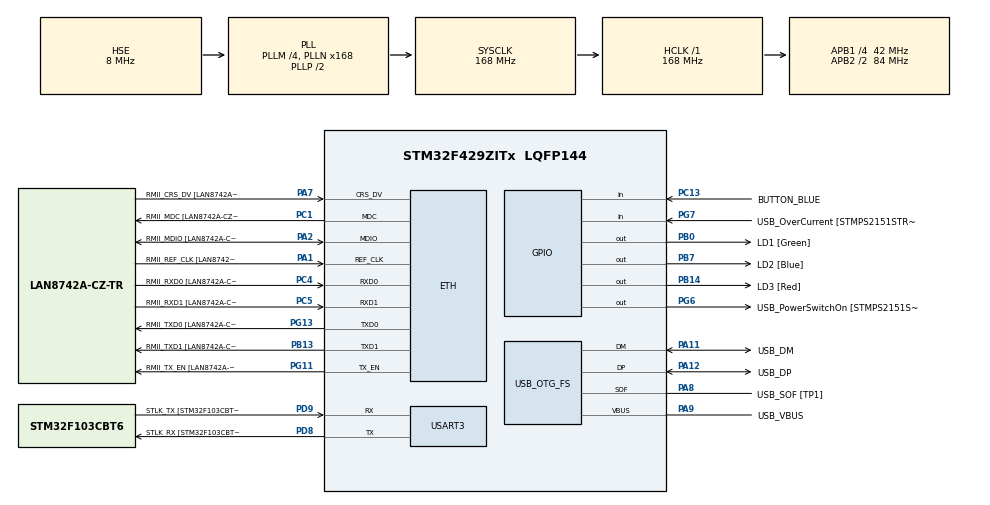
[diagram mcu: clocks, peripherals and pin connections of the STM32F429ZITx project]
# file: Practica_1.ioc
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ETH.MediaInterface=HAL_ETH_RMII_MODE
ETH.PHY_Name=LAN8742A_PHY_ADDRESS
ETH.PHY_Value=0
ETH.PhyAddress=0
Mcu.Family=STM32F4
Mcu.Name=STM32F429ZITx
Mcu.Package=LQFP144
NVIC.PriorityGroup=NVIC_PRIORITYGROUP_4
PA1.GPIO_Label=RMII_REF_CLK [LAN8742A-CZ-TR_REFCLK0]
PA1.Mode=RMII
PA1.Signal=ETH_REF_CLK
PA10.GPIO_Label=USB_ID
PA10.Signal=USB_OTG_FS_ID
PA11.GPIO_Label=USB_DM
PA11.Mode=Device_Only
PA11.Signal=USB_OTG_FS_DM
PA12.GPIO_Label=USB_DP
PA12.Mode=Device_Only
PA12.Signal=USB_OTG_FS_DP
PA13.GPIO_Label=TMS
PA13.Mode=Serial_Wire
PA13.Signal=SYS_JTMS-SWDIO
PA14.GPIO_Label=TCK
PA14.Mode=Serial_Wire
PA14.Signal=SYS_JTCK-SWCLK
PA2.GPIO_Label=RMII_MDIO [LAN8742A-CZ-TR_MDIO]
PA2.Mode=RMII
PA2.Signal=ETH_MDIO
PA7.GPIO_Label=RMII_CRS_DV [LAN8742A-CZ-TR_CRS_DV]
PA7.Mode=RMII
PA7.Signal=ETH_CRS_DV
PA8.GPIO_Label=USB_SOF [TP1]
PA8.Mode=Activate_SOF_FS
PA8.Signal=USB_OTG_FS_SOF
PA9.GPIO_Label=USB_VBUS
PA9.Mode=Activate_VBUS
PA9.Signal=USB_OTG_FS_VBUS
PB0.GPIO_Label=LD1 [Green]
PB0.PinState=GPIO_PIN_RESET
PB0.Signal=GPIO_Output
PB13.GPIO_Label=RMII_TXD1 [LAN8742A-CZ-TR_TXD1]
PB13.Mode=RMII
PB13.Signal=ETH_TXD1
PB14.GPIO_Label=LD3 [Red]
PB14.Signal=GPIO_Output
PB7.GPIO_Label=LD2 [Blue]
PB7.Signal=GPIO_Output
PC1.GPIO_Label=RMII_MDC [LAN8742A-CZ-TR_MDC]
PC1.Mode=RMII
PC1.Signal=ETH_MDC
PC13.GPIO_Label=BUTTON_BLUE
PC13.GPIO_PuPd=GPIO_NOPULL
PC13.Signal=GPIO_Input
PC14/OSC32_IN.Mode=LSE-External-Oscillator
PC14/OSC32_IN.Signal=RCC_OSC32_IN
PC15/OSC32_OUT.Mode=LSE-External-Oscillator
PC15/OSC32_OUT.Signal=RCC_OSC32_OUT
PC4.GPIO_Label=RMII_RXD0 [LAN8742A-CZ-TR_RXD0]
PC4.Mode=RMII
PC4.Signal=ETH_RXD0
PC5.GPIO_Label=RMII_RXD1 [LAN8742A-CZ-TR_RXD1]
PC5.Mode=RMII
PC5.Signal=ETH_RXD1
PD8.GPIO_Label=STLK_RX [STM32F103CBT6_PA3]
PD8.Mode=Asynchronous
PD8.Signal=USART3_TX
PD9.GPIO_Label=STLK_TX [STM32F103CBT6_PA2]
PD9.Mode=Asynchronous
PD9.Signal=USART3_RX
PG11.GPIO_Label=RMII_TX_EN [LAN8742A-CZ-TR_TXEN]
PG11.Mode=RMII
PG11.Signal=ETH_TX_EN
PG13.GPIO_Label=RMII_TXD0 [LAN8742A-CZ-TR_TXD0]
PG13.Mode=RMII
PG13.Signal=ETH_TXD0
PG6.GPIO_Label=USB_PowerSwitchOn [STMPS2151STR_EN]
PG6.Signal=GPIO_Output
PG7.GPIO_Label=USB_OverCurrent [STMPS2151STR_FAULT]
PG7.Signal=GPIO_Input
PH0/OSC_IN.GPIO_Label=MCO [STM32F103CBT6_PA8]
PH0/OSC_IN.Mode=HSE-External-Clock-Source
PH0/OSC_IN.Signal=RCC_OSC_IN
PH1/OSC_OUT.Mode=HSE-External-Clock-Source
PH1/OSC_OUT.Signal=RCC_OSC_OUT
ProjectManager.HeapSize=0x200
ProjectManager.StackSize=0x400
ProjectManager.TargetToolchain=STM32CubeIDE
RCC.48MHZClocksFreq_Value=48000000
RCC.AHBFreq_Value=168000000
RCC.APB1CLKDivider=RCC_HCLK_DIV4
RCC.APB1Freq_Value=42000000
RCC.APB1TimFreq_Value=84000000
RCC.APB2CLKDivider=RCC_HCLK_DIV2
RCC.APB2Freq_Value=84000000
RCC.APB2TimCLKDivider=2
RCC.APB2TimFreq_Value=168000000
RCC.CortexFreq_Value=168000000
RCC.HCLKFreq_Value=168000000
RCC.HSE_VALUE=8000000
RCC.HSI_VALUE=16000000
RCC.PLLM=4
RCC.PLLMUL=RCC_PLL_MUL9
RCC.PLLN=168
RCC.PLLQ=7
RCC.PRESCALERUSB=RCC_USBCLKSOURCE_PLL_DIV1_5
RCC.SYSCLKFreq_VALUE=168000000
RCC.SYSCLKSource=RCC_SYSCLKSOURCE_PLLCLK
RCC.SYSCLKSourceVirtual=RCC_SYSCLKSOURCE_PLLCLK
RCC.USBFreq_Value=48000000
RCC.VCOOutputFreq_Value=336000000
USART3.VirtualMode=VM_ASYNC
USB_OTG_FS.VirtualMode=Device_Only
board=NUCLEO-F429ZI

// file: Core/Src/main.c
/* USER CODE BEGIN Header */
/**
  ******************************************************************************
  * @file           : main.c
  * @brief          : Main program body
  ******************************************************************************
  * @attention
  *
  * Copyright (c) 2023 STMicroelectronics.
  * All rights reserved.
  *
  * This software is licensed under terms that can be found in the LICENSE file
  * in the root directory of this software component.
  * If no LICENSE file comes with this software, it is provided AS-IS.
  *
  ******************************************************************************
  */
/* USER CODE END Header */
#include "main.h"
#include "string.h"

ETH_TxPacketConfig TxConfig;
ETH_DMADescTypeDef  DMARxDscrTab[ETH_RX_DESC_CNT]; /* Ethernet Rx DMA Descriptors */
ETH_DMADescTypeDef  DMATxDscrTab[ETH_TX_DESC_CNT]; /* Ethernet Tx DMA Descriptors */

ETH_HandleTypeDef heth;

UART_HandleTypeDef huart3;

PCD_HandleTypeDef hpcd_USB_OTG_FS;

void SystemClock_Config(void);
static void MX_GPIO_Init(void);
static void MX_ETH_Init(void);
static void MX_USART3_UART_Init(void);
static void MX_USB_OTG_FS_PCD_Init(void);

int main(void)
{

  /* MCU Configuration--------------------------------------------------------*/

  /* Reset of all peripherals, Initializes the Flash interface and the Systick. */
  HAL_Init();

  /* Configure the system clock */
  SystemClock_Config();

  /* Initialize all configured peripherals */
  MX_GPIO_Init();
  MX_ETH_Init();
  MX_USART3_UART_Init();
  MX_USB_OTG_FS_PCD_Init();
  /* USER CODE BEGIN 2 */
  uint8_t bFlag = 0xFF;
  int8_t i = 0;
  uint32_t Led[] = {LD1_Pin,LD2_Pin,LD3_Pin};
  /* USER CODE END 2 */

  /* Infinite loop */
  /* USER CODE BEGIN WHILE */
  while (1)
  {

	  if(HAL_GPIO_ReadPin(GPIOC,GPIO_PIN_13))
	  {
		  if(bFlag == 0xFF)
		  {
			  bFlag = 0x00;
			  i = 2;
		  }
		  else
		  {
			  bFlag = 0xFF;
			  i = 0;
		  }
	  }

	  HAL_GPIO_WritePin(GPIOB,Led[i],1);
	  HAL_Delay(200);
	  HAL_GPIO_WritePin(GPIOB,Led[i],0);
	  HAL_Delay(200);

	  if(bFlag)
	  {
		  i++;
		  if(i >= 3)
			  i = 0;
	  }
	  else
	  {
		  i--;
		  if(i <= -1)
			  i = 2;
	  }

    /* USER CODE END WHILE */

  }
}

void SystemClock_Config(void)
{
  RCC_OscInitTypeDef RCC_OscInitStruct = {0};
  RCC_ClkInitTypeDef RCC_ClkInitStruct = {0};

  /** Configure the main internal regulator output voltage
  */
  __HAL_RCC_PWR_CLK_ENABLE();
  __HAL_PWR_VOLTAGESCALING_CONFIG(PWR_REGULATOR_VOLTAGE_SCALE1);

  /** Initializes the RCC Oscillators according to the specified parameters
  * in the RCC_OscInitTypeDef structure.
  */
  RCC_OscInitStruct.OscillatorType = RCC_OSCILLATORTYPE_HSE;
  RCC_OscInitStruct.HSEState = RCC_HSE_BYPASS;
  RCC_OscInitStruct.PLL.PLLState = RCC_PLL_ON;
  RCC_OscInitStruct.PLL.PLLSource = RCC_PLLSOURCE_HSE;
  RCC_OscInitStruct.PLL.PLLM = 4;
  RCC_OscInitStruct.PLL.PLLN = 168;
  RCC_OscInitStruct.PLL.PLLP = RCC_PLLP_DIV2;
  RCC_OscInitStruct.PLL.PLLQ = 7;
  if (HAL_RCC_OscConfig(&RCC_OscInitStruct) != HAL_OK)
  {
    Error_Handler();
  }

  /** Initializes the CPU, AHB and APB buses clocks
  */
  RCC_ClkInitStruct.ClockType = RCC_CLOCKTYPE_HCLK|RCC_CLOCKTYPE_SYSCLK
                              |RCC_CLOCKTYPE_PCLK1|RCC_CLOCKTYPE_PCLK2;
  RCC_ClkInitStruct.SYSCLKSource = RCC_SYSCLKSOURCE_PLLCLK;
  RCC_ClkInitStruct.AHBCLKDivider = RCC_SYSCLK_DIV1;
  RCC_ClkInitStruct.APB1CLKDivider = RCC_HCLK_DIV4;
  RCC_ClkInitStruct.APB2CLKDivider = RCC_HCLK_DIV2;

  if (HAL_RCC_ClockConfig(&RCC_ClkInitStruct, FLASH_LATENCY_5) != HAL_OK)
  {
    Error_Handler();
  }
}

static void MX_ETH_Init(void)
{

   static uint8_t MACAddr[6];

  heth.Instance = ETH;
  MACAddr[0] = 0x00;
  MACAddr[1] = 0x80;
  MACAddr[2] = 0xE1;
  MACAddr[3] = 0x00;
  MACAddr[4] = 0x00;
  MACAddr[5] = 0x00;
  heth.Init.MACAddr = &MACAddr[0];
  heth.Init.MediaInterface = HAL_ETH_RMII_MODE;
  heth.Init.TxDesc = DMATxDscrTab;
  heth.Init.RxDesc = DMARxDscrTab;
  heth.Init.RxBuffLen = 1524;

  if (HAL_ETH_Init(&heth) != HAL_OK)
  {
    Error_Handler();
  }

  memset(&TxConfig, 0 , sizeof(ETH_TxPacketConfig));
  TxConfig.Attributes = ETH_TX_PACKETS_FEATURES_CSUM | ETH_TX_PACKETS_FEATURES_CRCPAD;
  TxConfig.ChecksumCtrl = ETH_CHECKSUM_IPHDR_PAYLOAD_INSERT_PHDR_CALC;
  TxConfig.CRCPadCtrl = ETH_CRC_PAD_INSERT;

}

static void MX_USART3_UART_Init(void)
{

  huart3.Instance = USART3;
  huart3.Init.BaudRate = 115200;
  huart3.Init.WordLength = UART_WORDLENGTH_8B;
  huart3.Init.StopBits = UART_STOPBITS_1;
  huart3.Init.Parity = UART_PARITY_NONE;
  huart3.Init.Mode = UART_MODE_TX_RX;
  huart3.Init.HwFlowCtl = UART_HWCONTROL_NONE;
  huart3.Init.OverSampling = UART_OVERSAMPLING_16;
  if (HAL_UART_Init(&huart3) != HAL_OK)
  {
    Error_Handler();
  }

}

static void MX_USB_OTG_FS_PCD_Init(void)
{

  hpcd_USB_OTG_FS.Instance = USB_OTG_FS;
  hpcd_USB_OTG_FS.Init.dev_endpoints = 4;
  hpcd_USB_OTG_FS.Init.speed = PCD_SPEED_FULL;
  hpcd_USB_OTG_FS.Init.dma_enable = DISABLE;
  hpcd_USB_OTG_FS.Init.phy_itface = PCD_PHY_EMBEDDED;
  hpcd_USB_OTG_FS.Init.Sof_enable = ENABLE;
  hpcd_USB_OTG_FS.Init.low_power_enable = DISABLE;
  hpcd_USB_OTG_FS.Init.lpm_enable = DISABLE;
  hpcd_USB_OTG_FS.Init.vbus_sensing_enable = ENABLE;
  hpcd_USB_OTG_FS.Init.use_dedicated_ep1 = DISABLE;
  if (HAL_PCD_Init(&hpcd_USB_OTG_FS) != HAL_OK)
  {
    Error_Handler();
  }

}

static void MX_GPIO_Init(void)
{
  GPIO_InitTypeDef GPIO_InitStruct = {0};

  /* GPIO Ports Clock Enable */
  __HAL_RCC_GPIOC_CLK_ENABLE();
  __HAL_RCC_GPIOH_CLK_ENABLE();
  __HAL_RCC_GPIOA_CLK_ENABLE();
  __HAL_RCC_GPIOB_CLK_ENABLE();
  __HAL_RCC_GPIOD_CLK_ENABLE();
  __HAL_RCC_GPIOG_CLK_ENABLE();

  /*Configure GPIO pin Output Level */
  HAL_GPIO_WritePin(GPIOB, LD1_Pin|LD3_Pin|LD2_Pin, GPIO_PIN_RESET);

  /*Configure GPIO pin Output Level */
  HAL_GPIO_WritePin(USB_PowerSwitchOn_GPIO_Port, USB_PowerSwitchOn_Pin, GPIO_PIN_RESET);

  /*Configure GPIO pin : BUTTON_BLUE_Pin */
  GPIO_InitStruct.Pin = BUTTON_BLUE_Pin;
  GPIO_InitStruct.Mode = GPIO_MODE_INPUT;
  GPIO_InitStruct.Pull = GPIO_NOPULL;
  HAL_GPIO_Init(BUTTON_BLUE_GPIO_Port, &GPIO_InitStruct);

  /*Configure GPIO pins : LD1_Pin LD3_Pin LD2_Pin */
  GPIO_InitStruct.Pin = LD1_Pin|LD3_Pin|LD2_Pin;
  GPIO_InitStruct.Mode = GPIO_MODE_OUTPUT_PP;
  GPIO_InitStruct.Pull = GPIO_NOPULL;
  GPIO_InitStruct.Speed = GPIO_SPEED_FREQ_LOW;
  HAL_GPIO_Init(GPIOB, &GPIO_InitStruct);

  /*Configure GPIO pin : USB_PowerSwitchOn_Pin */
  GPIO_InitStruct.Pin = USB_PowerSwitchOn_Pin;
  GPIO_InitStruct.Mode = GPIO_MODE_OUTPUT_PP;
  GPIO_InitStruct.Pull = GPIO_NOPULL;
  GPIO_InitStruct.Speed = GPIO_SPEED_FREQ_LOW;
  HAL_GPIO_Init(USB_PowerSwitchOn_GPIO_Port, &GPIO_InitStruct);

  /*Configure GPIO pin : USB_OverCurrent_Pin */
  GPIO_InitStruct.Pin = USB_OverCurrent_Pin;
  GPIO_InitStruct.Mode = GPIO_MODE_INPUT;
  GPIO_InitStruct.Pull = GPIO_NOPULL;
  HAL_GPIO_Init(USB_OverCurrent_GPIO_Port, &GPIO_InitStruct);

}

void Error_Handler(void)
{
  __disable_irq();
  while (1)
  {
  }
}
